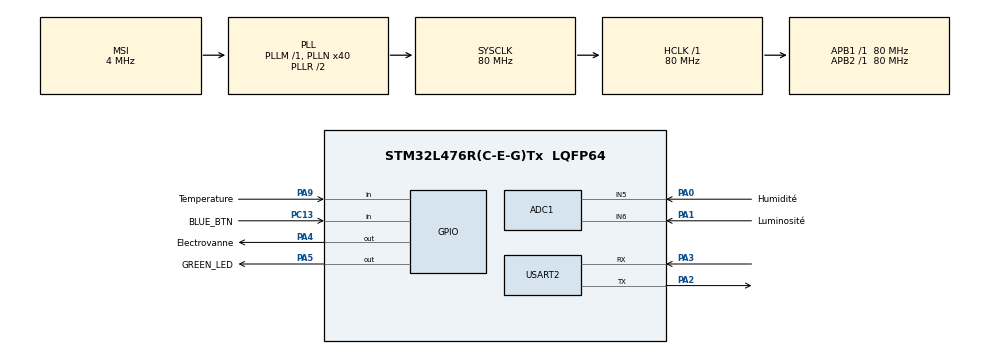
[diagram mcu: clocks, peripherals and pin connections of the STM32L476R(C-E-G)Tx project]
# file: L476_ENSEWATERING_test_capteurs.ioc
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ADC1.Channel-0\#ChannelRegularConversion=ADC_CHANNEL_5
ADC1.Channel-1\#ChannelRegularConversion=ADC_CHANNEL_6
ADC1.ContinuousConvMode=DISABLE
ADC1.DMAContinuousRequests=ENABLE
ADC1.EOCSelection=ADC_EOC_SEQ_CONV
ADC1.ExternalTrigConv=ADC_EXTERNALTRIG_T1_TRGO
ADC1.NbrOfConversion=2
ADC1.NbrOfConversionFlag=1
ADC1.OffsetNumber-0\#ChannelRegularConversion=ADC_OFFSET_NONE
ADC1.OffsetNumber-1\#ChannelRegularConversion=ADC_OFFSET_NONE
ADC1.OversamplingMode=DISABLE
ADC1.Rank-0\#ChannelRegularConversion=1
ADC1.Rank-1\#ChannelRegularConversion=2
ADC1.SamplingTime-0\#ChannelRegularConversion=ADC_SAMPLETIME_12CYCLES_5
ADC1.SamplingTime-1\#ChannelRegularConversion=ADC_SAMPLETIME_12CYCLES_5
ADC1.master=1
Dma.ADC1.0.Direction=DMA_PERIPH_TO_MEMORY
Dma.ADC1.0.Instance=DMA1_Channel1
Dma.ADC1.0.MemDataAlignment=DMA_MDATAALIGN_HALFWORD
Dma.ADC1.0.MemInc=DMA_MINC_ENABLE
Dma.ADC1.0.Mode=DMA_CIRCULAR
Dma.ADC1.0.PeriphDataAlignment=DMA_PDATAALIGN_HALFWORD
Dma.ADC1.0.PeriphInc=DMA_PINC_DISABLE
Dma.ADC1.0.Priority=DMA_PRIORITY_LOW
Dma.Request0=ADC1
Mcu.Family=STM32L4
Mcu.Name=STM32L476R(C-E-G)Tx
Mcu.Package=LQFP64
NVIC.DMA1_Channel1_IRQn=true\:0\:0\:false\:false\:true\:false\:true
NVIC.PriorityGroup=NVIC_PRIORITYGROUP_4
PA0.GPIO_Label=Humidit\u00E9
PA0.Signal=ADCx_IN5
PA1.GPIO_Label=Luminosit\u00E9
PA1.Signal=ADCx_IN6
PA13\ (JTMS-SWDIO).Mode=Serial_Wire
PA13\ (JTMS-SWDIO).Signal=SYS_JTMS-SWDIO
PA14\ (JTCK-SWCLK).Mode=Serial_Wire
PA14\ (JTCK-SWCLK).Signal=SYS_JTCK-SWCLK
PA2.Mode=Asynchronous
PA2.Signal=USART2_TX
PA3.Mode=Asynchronous
PA3.Signal=USART2_RX
PA4.GPIO_Label=Electrovanne
PA4.Signal=GPIO_Output
PA5.GPIO_Label=GREEN_LED
PA5.Signal=GPIO_Output
PA9.GPIO_Label=Temperature
PA9.Signal=GPIO_Input
PC13.GPIO_Label=BLUE_BTN
PC13.Signal=GPIO_Input
PC14-OSC32_IN\ (PC14).Mode=LSE-External-Oscillator
PC14-OSC32_IN\ (PC14).Signal=RCC_OSC32_IN
PC15-OSC32_OUT\ (PC15).Mode=LSE-External-Oscillator
PC15-OSC32_OUT\ (PC15).Signal=RCC_OSC32_OUT
ProjectManager.HeapSize=0x200
ProjectManager.StackSize=0x400
ProjectManager.TargetToolchain=STM32CubeIDE
RCC.ADCCLockSelection=RCC_ADCCLKSOURCE_SYSCLK
RCC.ADCFreq_Value=80000000
RCC.AHBFreq_Value=80000000
RCC.APB1Freq_Value=80000000
RCC.APB1TimFreq_Value=80000000
RCC.APB2Freq_Value=80000000
RCC.APB2TimFreq_Value=80000000
RCC.CortexFreq_Value=80000000
RCC.HCLKFreq_Value=80000000
RCC.HSE_VALUE=8000000
RCC.HSI_VALUE=16000000
RCC.MSI_VALUE=4000000
RCC.PLLN=40
RCC.PLLSAI1N=16
RCC.SYSCLKFreq_VALUE=80000000
RCC.SYSCLKSource=RCC_SYSCLKSOURCE_PLLCLK
RCC.USBFreq_Value=32000000
RCC.VCOOutputFreq_Value=160000000
SH.ADCx_IN5.0=ADC1_IN5,IN5-Single-Ended
SH.ADCx_IN6.0=ADC1_IN6,IN6-Single-Ended
TIM1.Period=8000-1
TIM1.Prescaler=10000-1
TIM1.TIM_MasterOutputTrigger=TIM_TRGO_UPDATE
TIM1.TIM_MasterSlaveMode=TIM_MASTERSLAVEMODE_ENABLE
USART2.VirtualMode-Asynchronous=VM_ASYNC
VP_TIM1_VS_ClockSourceINT.Mode=Internal
board=custom

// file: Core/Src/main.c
/* USER CODE BEGIN Header */
/**
  ******************************************************************************
  * @file           : main.c
  * @brief          : Main program body
  ******************************************************************************
  * @attention
  *
  * <h2><center>&copy; Copyright (c) 2021 STMicroelectronics.
  * All rights reserved.</center></h2>
  *
  * This software component is licensed by ST under BSD 3-Clause license,
  * the "License"; You may not use this file except in compliance with the
  * License. You may obtain a copy of the License at:
  *                        opensource.org/licenses/BSD-3-Clause
  *
  ******************************************************************************
  */
/* USER CODE END Header */
#include "main.h"

/* USER CODE BEGIN Includes */
#include <stdint.h>				// déclaration des bibliothèques
#include <stdio.h>
/* USER CODE END Includes */

ADC_HandleTypeDef hadc1;		// on nomme les signaux
DMA_HandleTypeDef hdma_adc1;

TIM_HandleTypeDef htim1;

UART_HandleTypeDef huart2;

/* USER CODE BEGIN PV */
uint16_t humidite,luminosite;	// déclaration de humidite et luminosite comme des entiers sur 16 bits
uint16_t table[2];

uint8_t it_adc;
char UART_TX_BUFFER[32];
/* USER CODE END PV */

void SystemClock_Config(void);	// on configure l'horloge
static void MX_GPIO_Init(void);
static void MX_DMA_Init(void);
static void MX_USART2_UART_Init(void);
static void MX_ADC1_Init(void);
static void MX_TIM1_Init(void);

int main(void)
{

  /* MCU Configuration--------------------------------------------------------*/

  /* Reset of all peripherals, Initializes the Flash interface and the Systick. */
  HAL_Init();

  /* Configure the system clock */
  SystemClock_Config();

  /* Initialize all configured peripherals */
  MX_GPIO_Init();
  MX_DMA_Init();
  MX_USART2_UART_Init();
  MX_ADC1_Init();
  MX_TIM1_Init();
  /* USER CODE BEGIN 2 */
  HAL_ADC_Start_DMA(&hadc1, table, 2);  // table[0]= humidité; table[1]=luminosité
  HAL_TIM_Base_Start(&htim1);

  it_adc = 0;					// on fixe it_adc à 0

  sprintf(UART_TX_BUFFER,"Starting... \r\n", table[0],table[1]);  //
  HAL_UART_Transmit(&huart2, UART_TX_BUFFER, 32, HAL_MAX_DELAY);  //
  /* USER CODE END 2 */

  /* Infinite loop */
  /* USER CODE BEGIN WHILE */

  while (1)
  {
	  if(it_adc){      		// lorsqu'il y a une interruption, it_adc = 1, on exécute la condition
		  // Votre code à faire à la réception de données

		  //table[0]= humidite;
		  //table[1]= luminosite;
		  sprintf(UART_TX_BUFFER,"humidite:%d luminosite:%d\r\n", table[0],table[1]); // on affiche les signaux sur la console, utile uniquement pour les tests
		  HAL_UART_Transmit(&huart2, UART_TX_BUFFER, 32, HAL_MAX_DELAY) 	;      // on envoie les valeurs d'humidité et de luminosité a la raspberry

		  it_adc = 0;    // on remet it_adc à 0 et on attend la prochaine interruption
	  }
	  HAL_GPIO_TogglePin(GREEN_LED_GPIO_Port, GREEN_LED_Pin); //atteste du fonctionnement de la carte

	  /*  HAL_ADC1_ReadPin(humidité_sol);  */

    /* USER CODE END WHILE */

  }
}

void SystemClock_Config(void)
{
  RCC_OscInitTypeDef RCC_OscInitStruct = {0};
  RCC_ClkInitTypeDef RCC_ClkInitStruct = {0};
  RCC_PeriphCLKInitTypeDef PeriphClkInit = {0};

  /** Configure LSE Drive Capability
  */
  HAL_PWR_EnableBkUpAccess();
  __HAL_RCC_LSEDRIVE_CONFIG(RCC_LSEDRIVE_LOW);
  /** Initializes the RCC Oscillators according to the specified parameters
  * in the RCC_OscInitTypeDef structure.
  */
  RCC_OscInitStruct.OscillatorType = RCC_OSCILLATORTYPE_LSE|RCC_OSCILLATORTYPE_MSI;
  RCC_OscInitStruct.LSEState = RCC_LSE_ON;
  RCC_OscInitStruct.MSIState = RCC_MSI_ON;
  RCC_OscInitStruct.MSICalibrationValue = 0;
  RCC_OscInitStruct.MSIClockRange = RCC_MSIRANGE_6;
  RCC_OscInitStruct.PLL.PLLState = RCC_PLL_ON;
  RCC_OscInitStruct.PLL.PLLSource = RCC_PLLSOURCE_MSI;
  RCC_OscInitStruct.PLL.PLLM = 1;
  RCC_OscInitStruct.PLL.PLLN = 40;
  RCC_OscInitStruct.PLL.PLLP = RCC_PLLP_DIV7;
  RCC_OscInitStruct.PLL.PLLQ = RCC_PLLQ_DIV2;
  RCC_OscInitStruct.PLL.PLLR = RCC_PLLR_DIV2;
  if (HAL_RCC_OscConfig(&RCC_OscInitStruct) != HAL_OK)
  {
    Error_Handler();
  }
  /** Initializes the CPU, AHB and APB buses clocks
  */
  RCC_ClkInitStruct.ClockType = RCC_CLOCKTYPE_HCLK|RCC_CLOCKTYPE_SYSCLK
                              |RCC_CLOCKTYPE_PCLK1|RCC_CLOCKTYPE_PCLK2;
  RCC_ClkInitStruct.SYSCLKSource = RCC_SYSCLKSOURCE_PLLCLK;
  RCC_ClkInitStruct.AHBCLKDivider = RCC_SYSCLK_DIV1;
  RCC_ClkInitStruct.APB1CLKDivider = RCC_HCLK_DIV1;
  RCC_ClkInitStruct.APB2CLKDivider = RCC_HCLK_DIV1;

  if (HAL_RCC_ClockConfig(&RCC_ClkInitStruct, FLASH_LATENCY_4) != HAL_OK)
  {
    Error_Handler();
  }
  PeriphClkInit.PeriphClockSelection = RCC_PERIPHCLK_USART2|RCC_PERIPHCLK_ADC;
  PeriphClkInit.Usart2ClockSelection = RCC_USART2CLKSOURCE_PCLK1;
  PeriphClkInit.AdcClockSelection = RCC_ADCCLKSOURCE_SYSCLK;
  if (HAL_RCCEx_PeriphCLKConfig(&PeriphClkInit) != HAL_OK)
  {
    Error_Handler();
  }
  /** Configure the main internal regulator output voltage
  */
  if (HAL_PWREx_ControlVoltageScaling(PWR_REGULATOR_VOLTAGE_SCALE1) != HAL_OK)
  {
    Error_Handler();
  }
  /** Enable MSI Auto calibration
  */
  HAL_RCCEx_EnableMSIPLLMode();
}

static void MX_ADC1_Init(void)
{

  ADC_MultiModeTypeDef multimode = {0};
  ADC_ChannelConfTypeDef sConfig = {0};

  /** Common config
  */
  hadc1.Instance = ADC1;
  hadc1.Init.ClockPrescaler = ADC_CLOCK_ASYNC_DIV1;
  hadc1.Init.Resolution = ADC_RESOLUTION_12B;
  hadc1.Init.DataAlign = ADC_DATAALIGN_RIGHT;
  hadc1.Init.ScanConvMode = ADC_SCAN_ENABLE;
  hadc1.Init.EOCSelection = ADC_EOC_SEQ_CONV;
  hadc1.Init.LowPowerAutoWait = DISABLE;
  hadc1.Init.ContinuousConvMode = DISABLE;
  hadc1.Init.NbrOfConversion = 2;
  hadc1.Init.DiscontinuousConvMode = DISABLE;
  hadc1.Init.ExternalTrigConv = ADC_EXTERNALTRIG_T1_TRGO;
  hadc1.Init.ExternalTrigConvEdge = ADC_EXTERNALTRIGCONVEDGE_RISING;
  hadc1.Init.DMAContinuousRequests = ENABLE;
  hadc1.Init.Overrun = ADC_OVR_DATA_PRESERVED;
  hadc1.Init.OversamplingMode = DISABLE;
  if (HAL_ADC_Init(&hadc1) != HAL_OK)
  {
    Error_Handler();
  }
  /** Configure the ADC multi-mode
  */
  multimode.Mode = ADC_MODE_INDEPENDENT;
  if (HAL_ADCEx_MultiModeConfigChannel(&hadc1, &multimode) != HAL_OK)
  {
    Error_Handler();
  }
  /** Configure Regular Channel
  */
  sConfig.Channel = ADC_CHANNEL_5;
  sConfig.Rank = ADC_REGULAR_RANK_1;
  sConfig.SamplingTime = ADC_SAMPLETIME_12CYCLES_5;
  sConfig.SingleDiff = ADC_SINGLE_ENDED;
  sConfig.OffsetNumber = ADC_OFFSET_NONE;
  sConfig.Offset = 0;
  if (HAL_ADC_ConfigChannel(&hadc1, &sConfig) != HAL_OK)
  {
    Error_Handler();
  }
  /** Configure Regular Channel
  */
  sConfig.Channel = ADC_CHANNEL_6;
  sConfig.Rank = ADC_REGULAR_RANK_2;
  if (HAL_ADC_ConfigChannel(&hadc1, &sConfig) != HAL_OK)
  {
    Error_Handler();
  }

}

static void MX_TIM1_Init(void)
{

  TIM_ClockConfigTypeDef sClockSourceConfig = {0};
  TIM_MasterConfigTypeDef sMasterConfig = {0};

  htim1.Instance = TIM1;
  htim1.Init.Prescaler = 10000-1;
  htim1.Init.CounterMode = TIM_COUNTERMODE_UP;
  htim1.Init.Period = 8000-1;
  htim1.Init.ClockDivision = TIM_CLOCKDIVISION_DIV1;
  htim1.Init.RepetitionCounter = 0;
  htim1.Init.AutoReloadPreload = TIM_AUTORELOAD_PRELOAD_DISABLE;
  if (HAL_TIM_Base_Init(&htim1) != HAL_OK)
  {
    Error_Handler();
  }
  sClockSourceConfig.ClockSource = TIM_CLOCKSOURCE_INTERNAL;
  if (HAL_TIM_ConfigClockSource(&htim1, &sClockSourceConfig) != HAL_OK)
  {
    Error_Handler();
  }
  sMasterConfig.MasterOutputTrigger = TIM_TRGO_UPDATE;
  sMasterConfig.MasterOutputTrigger2 = TIM_TRGO2_RESET;
  sMasterConfig.MasterSlaveMode = TIM_MASTERSLAVEMODE_ENABLE;
  if (HAL_TIMEx_MasterConfigSynchronization(&htim1, &sMasterConfig) != HAL_OK)
  {
    Error_Handler();
  }

}

static void MX_USART2_UART_Init(void)
{

  huart2.Instance = USART2;
  huart2.Init.BaudRate = 115200;
  huart2.Init.WordLength = UART_WORDLENGTH_8B;
  huart2.Init.StopBits = UART_STOPBITS_1;
  huart2.Init.Parity = UART_PARITY_NONE;
  huart2.Init.Mode = UART_MODE_TX_RX;
  huart2.Init.HwFlowCtl = UART_HWCONTROL_NONE;
  huart2.Init.OverSampling = UART_OVERSAMPLING_16;
  huart2.Init.OneBitSampling = UART_ONE_BIT_SAMPLE_DISABLE;
  huart2.AdvancedInit.AdvFeatureInit = UART_ADVFEATURE_NO_INIT;
  if (HAL_UART_Init(&huart2) != HAL_OK)
  {
    Error_Handler();
  }

}

static void MX_DMA_Init(void)
{

  /* DMA controller clock enable */
  __HAL_RCC_DMA1_CLK_ENABLE();

  /* DMA interrupt init */
  /* DMA1_Channel1_IRQn interrupt configuration */
  HAL_NVIC_SetPriority(DMA1_Channel1_IRQn, 0, 0);
  HAL_NVIC_EnableIRQ(DMA1_Channel1_IRQn);

}

static void MX_GPIO_Init(void)
{
  GPIO_InitTypeDef GPIO_InitStruct = {0};

  /* GPIO Ports Clock Enable */
  __HAL_RCC_GPIOC_CLK_ENABLE();
  __HAL_RCC_GPIOA_CLK_ENABLE();

  /*Configure GPIO pin Output Level */
  HAL_GPIO_WritePin(GPIOA, Electrovanne_Pin|GREEN_LED_Pin, GPIO_PIN_RESET);

  /*Configure GPIO pin : BLUE_BTN_Pin */
  GPIO_InitStruct.Pin = BLUE_BTN_Pin;
  GPIO_InitStruct.Mode = GPIO_MODE_INPUT;
  GPIO_InitStruct.Pull = GPIO_NOPULL;
  HAL_GPIO_Init(BLUE_BTN_GPIO_Port, &GPIO_InitStruct);

  /*Configure GPIO pins : Electrovanne_Pin GREEN_LED_Pin */
  GPIO_InitStruct.Pin = Electrovanne_Pin|GREEN_LED_Pin;
  GPIO_InitStruct.Mode = GPIO_MODE_OUTPUT_PP;
  GPIO_InitStruct.Pull = GPIO_NOPULL;
  GPIO_InitStruct.Speed = GPIO_SPEED_FREQ_LOW;
  HAL_GPIO_Init(GPIOA, &GPIO_InitStruct);

  /*Configure GPIO pin : Temperature_Pin */
  GPIO_InitStruct.Pin = Temperature_Pin;
  GPIO_InitStruct.Mode = GPIO_MODE_INPUT;
  GPIO_InitStruct.Pull = GPIO_NOPULL;
  HAL_GPIO_Init(Temperature_GPIO_Port, &GPIO_InitStruct);

}

/* USER CODE BEGIN 4 */
void HAL_ADC_ConvCpltCallback(ADC_HandleTypeDef * hadc1){
	it_adc = 1;
}
/* USER CODE END 4 */

void Error_Handler(void)
{
}

/************************ (C) COPYRIGHT STMicroelectronics *****END OF FILE****/
